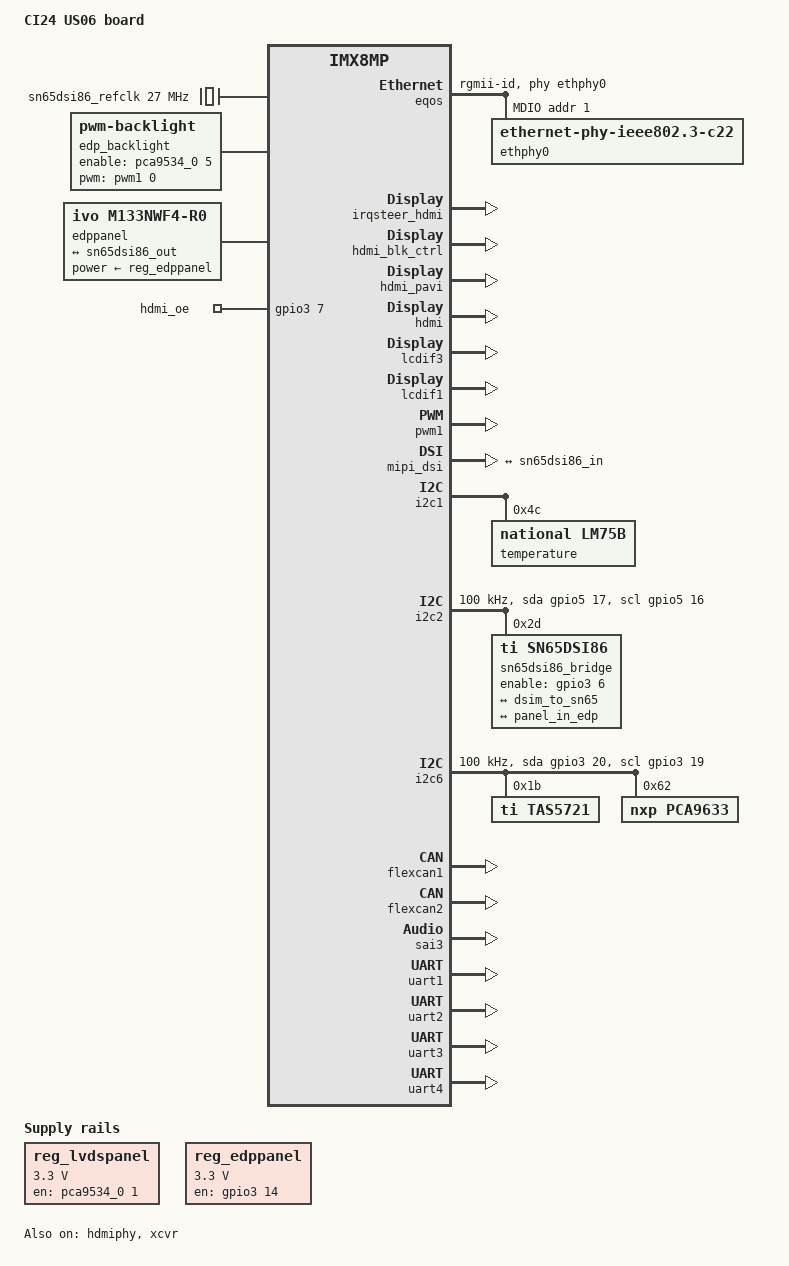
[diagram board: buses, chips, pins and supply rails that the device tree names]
/*
 * Copyright (C) 2024 Exor Int.
 * 
 * Written by: G. Pavoni Exor Int.
 * 
 * Copyright (C) 2013 Freescale Semiconductor, Inc.
 *
 * This program is free software; you can redistribute it and/or modify
 * it under the terms of the GNU General Public License version 2 as
 * published by the Free Software Foundation.
 */
  
/dts-v1/;
  
#include "imx8mp_us06.dtsi"
  
/ {
	model = "CI24 US06 board";

	aliases {
		ethernet1 = &fec;
		ethernet0 = &eqos;
		serial0 = &uart1;
		serial1 = &uart2;
		serial2 = &uart4;
		serial3 = &uart3;
	};

	sn65dsi86_refclk: sn65dsi86-refclk {
		compatible = "fixed-clock";
		#clock-cells = <0>;
		clock-frequency = <27000000>;
	};

	/* LVDS backlight */
	backlight0: backlight {
		compatible = "pwm-backlight";
		pwms = <&pwm4 0 50000 0>;
		brightness-levels = <0 4 8 12 16 20 24 28 32 36 40 44 48 52 56 60 64 68 72 76 80 84 88 92 96 100>;
		default-brightness-level = <0>;
		enable-gpios = <&pca9534_0 2 0>;
		status = "disabled"; /* NOTE: To be enabled for LVDS display output */
	};

	/* MIPI/eDP backight */
	edp_backlight: backlight_edp {
		compatible = "pwm-backlight";
		pwms = <&pwm1 0 500000 0>;
		brightness-levels = <0 4 8 12 16 20 24 28 32 36 40 44 48 52 56 60 64 68 72 76 80 84 88 92 96 100>;
		default-brightness-level = <0>;
		enable-gpios = <&pca9534_0 5 0>;
		status = "okay";
	};

	working_hours {
	  compatible = "working_hours";
	  nvmem-names = "eeprom";
	  nvmem = <&seeprom0>;
	  has-blight;
	  status = "okay";
	};

	reg_lvdspanel: regulator-lvdspanel {
		compatible = "regulator-fixed";
		regulator-name = "lvds-reg";
		regulator-min-microvolt = <3300000>;
		regulator-max-microvolt = <3300000>;
		regulator-always-on;
		gpio = <&pca9534_0 1 0>;
		startup-delay-us = <100000>;
		enable-active-high;
	};

	reg_edppanel: regulator-edppanel {
		compatible = "regulator-fixed";
		regulator-name = "edp-reg";
		regulator-min-microvolt = <3300000>;
		regulator-max-microvolt = <3300000>;
		regulator-always-on;
		gpio = <&gpio3 14 GPIO_ACTIVE_HIGH>;
		startup-delay-us = <100000>;
		enable-active-high;
	};

	/* LVDS panel */
	lvdspanel {
		#address-cells = <1>;
		#size-cells = <0>;
		compatible = "ex,lvds-panel", "simple-panel";
		power-supply = <&reg_lvdspanel>;

		status = "disabled"; /* NOTE: To be enabled for LVDS display output */

		de_pol = <1>;
		hsync_pol = <1>;
		vsync_pol = <1>;
		lvds-use-jeida;
		panel-timing {
			clock-frequency = <33200000>;
			hactive = <800>;
			vactive = <480>;
			hsync-len = <200>;
			hfront-porch = <28>;
			hback-porch = <28>;
			vsync-len = <25>;
			vfront-porch = <10>;
			vback-porch = <10>;
		};

		port@0 {
			reg = <0>;

			panel_in: endpoint {
				remote-endpoint = <&lvds_out>;
			};
		};
	};

	/* mipi/eDP panel */
	edppanel {
		#address-cells = <1>;
		#size-cells = <0>;
		compatible = "ivo,m133nwf4-r0","panel-simple";
		status = "okay";
		power-supply = <&reg_edppanel>;
		dsi-lanes = <4>;

		panel-timing {
			clock-frequency = <141000000>;
			hactive = <1920>;
			vactive = <1080>;
			hsync-len = <32>;
			hfront-porch = <32>;
			hback-porch = <120>;
			vsync-len = <10>;
			vfront-porch = <10>;
			vback-porch = <36>;
		};

		port@0 {
			reg = <0>;
			panel_in_edp: endpoint {
				remote-endpoint = <&sn65dsi86_out>;
			};
		};
	};

	sound_playback {
		compatible = "simple-audio-card";
		simple-audio-card,name = "US06 HDMI Audio";
		simple-audio-card,format = "i2s";
		simple-audio-card,bitclock-master = <&dai_cpu>;
        simple-audio-card,frame-master = <&dai_cpu>;
		dai_cpu: simple-audio-card,cpu {
			sound-dai = <&sai3>;
		};
		simple-audio-card,codec {
			sound-dai = <&tas5721>;
		};
	};
};

&leds{
        hdmi_oe@11 {
            label = "hdmi_oe";
            gpios = <&gpio3 7 GPIO_ACTIVE_HIGH>;
            default-state = "on";
        };
};

&eqos {
	pinctrl-names = "default";
	pinctrl-0 = <&pinctrl_eqos>;
	phy-mode = "rgmii-id";
	phy-handle = <&ethphy0>;
	status = "okay";

	mdio {
		compatible = "snps,dwmac-mdio";
		#address-cells = <1>;
		#size-cells = <0>;

		ethphy0: ethernet-phy@3 {
			compatible = "ethernet-phy-ieee802.3-c22";
			reg = <0x01>;
			ti,rx-internal-delay = <0x07>;
			ti,tx-internal-delay = <0x07>;
			eee-broken-1000t;
		};
	};
};

/* HDMI native interface */
&irqsteer_hdmi {
	status = "okay";
};

&hdmi_blk_ctrl {
	status = "okay";
};

&hdmi_pavi {
	status = "okay";
};

&hdmi {
	status = "okay";
};

&hdmiphy {
	status = "okay";
};

&lcdif3 {
	status = "okay";
};

/* MIPI/eDP interface */
&lcdif1 {
	status = "okay";
};

/* LVDS interface */
&lcdif2 {
	status = "disabled"; /* NOTE: To be enabled for LVDS display output */
};

/* LVDS display PWM backlight dimming*/
&pwm4 {
	status = "disabled"; /* NOTE: To be enabled for LVDS display output */
};

/* MIPI/eDP display PWM backlight dimming */
&pwm1 {
	pinctrl-names = "default";
	pinctrl-0 = <&pinctrl_pwm1>;
	status = "okay";
};

/* LVDS display */
&ldb {
	status = "disabled"; /* NOTE: To be enabled for LVDS display output */

	lvds-channel@0 {
		fsl,data-mapping = "spwg";
		fsl,data-width = <24>;
		status = "okay";

		port@1 {
			reg = <1>;

			lvds_out: endpoint {
				remote-endpoint = <&panel_in>;
			};
		};
	};
};

/* LVDS display */
&ldb_phy {
	status = "disabled"; /* NOTE: To be enabled for LVDS display output */
};

/* MIPI/eDP mipi DSI */
&mipi_dsi {
	status = "okay";
		port@1 {
			dsim_to_sn65: endpoint {
				remote-endpoint = <&sn65dsi86_in>;
				attach-bridge;
			};
		};
};

&ecspi2 {
	/delete-property/dmas;
	/delete-property/dma-names;
};

&i2c1 {
	temperature:lm75b@4c {
		compatible = "national,lm75b";
		reg = <0x4c>;
	};
};

&i2c2 {
	clock-frequency = <100000>;
	pinctrl-names = "default", "gpio";
	pinctrl-0 = <&pinctrl_i2c2>;
	pinctrl-1 = <&pinctrl_i2c2_gpio>;
	scl-gpios = <&gpio5 16 (GPIO_ACTIVE_HIGH | GPIO_OPEN_DRAIN)>;
	sda-gpios = <&gpio5 17 (GPIO_ACTIVE_HIGH | GPIO_OPEN_DRAIN)>;
	status = "okay";

	/* SN65DSI86 MIPI2EDP bridge */
	sn65dsi86_bridge: bridge@2d {
		compatible = "ti,sn65dsi86";
		reg = <0x2d>;
		ti,dsi-lanes = <4>;
		max,dsi-channel = <1>;
		ti,dp-lanes = <2>;

		enable-gpios = <&gpio3 6 GPIO_ACTIVE_HIGH>;
		clocks = <&sn65dsi86_refclk>;
		clock-names = "refclk";
		no-hpd;

		ports {
			#address-cells = <1>;
			#size-cells = <0>;

			port@0 {
				reg = <0>;
				sn65dsi86_in: endpoint {
					remote-endpoint = <&dsim_to_sn65>;
				};
			};

			port@1 {
				reg = <1>;
				sn65dsi86_out: endpoint {
					remote-endpoint = <&panel_in_edp>;
				};
			};
        };
	};
};

&i2c6 {
	clock-frequency = <100000>;
	pinctrl-names = "default", "gpio";
	pinctrl-0 = <&pinctrl_i2c6>;
	pinctrl-1 = <&pinctrl_i2c6_gpio>;
	scl-gpios = <&gpio3 19 (GPIO_ACTIVE_HIGH | GPIO_OPEN_DRAIN)>;
	sda-gpios = <&gpio3 20 (GPIO_ACTIVE_HIGH | GPIO_OPEN_DRAIN)>;
	status = "okay";

	tas5721: audio-codec@1b {
		compatible = "ti,tas5721";
		#sound-dai-cells = <0>;
		reg = <0x1b>;
		clocks = <&audio_blk_ctrl IMX8MP_CLK_AUDIO_BLK_CTRL_SAI3_MCLK1>;
		clock-names = "mclk";
	};

	pca9633@62 {
		compatible = "nxp,pca9633";
		#address-cells = <1>;
		#size-cells = <0>;
		reg = <0x62>;
		nxp,totem-pole;

		red@0 {
			label = "red";
			reg = <0>;
			linux,default-trigger = "none";
		};
		green@1 {
			label = "green";
			reg = <1>;
			linux,default-trigger = "none";
		};
		blue@2 {
			label = "blue";
			reg = <2>;
			linux,default-trigger = "none";
		};
		white@3 {
			label = "white";
			reg = <3>;
			linux,default-trigger = "none";
		};
	};
};

&pcie{
	fsl,max-link-speed = <1>;
};

&flexcan1 {
	status = "okay";
};

&flexcan2 {
	status = "okay";
};

&sai3 {
	#sound-dai-cells = <0>;
	pinctrl-names = "default";
	pinctrl-0 = <&pinctrl_sai3>;
	assigned-clocks = <&clk IMX8MP_CLK_SAI3>;

	// 48K based rates
	assigned-clock-parents = <&clk IMX8MP_AUDIO_PLL1_OUT>;
	assigned-clock-rates = <24576000>;

	// 44K1 based rates
	//assigned-clock-parents = <&clk IMX8MP_AUDIO_PLL2_OUT>;
	//assigned-clock-rates = <22579200>;

	clocks = <&audio_blk_ctrl IMX8MP_CLK_AUDIO_BLK_CTRL_SAI3_IPG>, <&clk IMX8MP_CLK_DUMMY>,
		 <&audio_blk_ctrl IMX8MP_CLK_AUDIO_BLK_CTRL_SAI3_MCLK1>, <&clk IMX8MP_CLK_DUMMY>,
		 <&clk IMX8MP_CLK_DUMMY>;
	clock-names = "bus", "mclk0", "mclk1", "mclk2", "mclk3";
	fsl,sai-mclk-direction-output;
	status = "okay";
};

&xcvr {
	#sound-dai-cells = <0>;
	status = "okay";
};

&sdma2 {
	status = "okay";
};

&uart1 { /* Main UART com1*/
	/delete-property/dmas;
	/delete-property/dma-names;
	pinctrl-names = "default";
	pinctrl-0 = <&pinctrl_uart1>;
	fsl,uart-has-rtscts;
	rts-gpio = <&gpio4 14 0>;
	mode-gpio = <&gpio4 9 0>;
	rxen-gpio = <&gpio4 8 0>;
	status = "okay";
};

&uart2 { /* RS232-tx/rx com2 */
	pinctrl-names = "default";
	pinctrl-0 = <&pinctrl_uart2>;
	fsl,uart-has-rtscts;
	status = "okay";
	/delete-property/dmas;
	/delete-property/dma-names;
};

&uart3 { /* MDB uart com4*/
	pinctrl-names = "default";
	pinctrl-0 = <&pinctrl_uart3>;
	fsl,uart-has-rtscts;
	status = "okay";
	/delete-property/dmas;
	/delete-property/dma-names;
};

&uart4 { /* RS232 com3 */
	pinctrl-names = "default";
	pinctrl-0 = <&pinctrl_uart4>;
	fsl,uart-has-rtscts;
	status = "okay";
	/delete-property/dmas;
	/delete-property/dma-names;
};


&iomuxc {
	pinctrl-names = "default";
	pinctrl-0 = <&pinctrl_hog &pinctrl_hog2>;

	imx8mp-evk {

		pinctrl_hog2: hoggrp-2 {
			fsl,pins = <
				MX8MP_IOMUXC_SPDIF_EXT_CLK__GPIO5_IO05   0x106
				MX8MP_IOMUXC_GPIO1_IO03__GPIO1_IO03      0x106
				MX8MP_IOMUXC_SAI5_RXD0__GPIO3_IO21       0x106
				MX8MP_IOMUXC_GPIO1_IO08__GPIO1_IO08      0x106 /* CASE_OPEN GPIO*/
				MX8MP_IOMUXC_NAND_DQS__GPIO3_IO14        0x106 /* EDP EN_VDD */
				MX8MP_IOMUXC_NAND_DATA00__GPIO3_IO06     0x106 /* EDP EN_DSI */
				MX8MP_IOMUXC_HDMI_DDC_SCL__HDMIMIX_HDMI_SCL	0x400001c3
				MX8MP_IOMUXC_HDMI_DDC_SDA__HDMIMIX_HDMI_SDA	0x400001c3
				MX8MP_IOMUXC_HDMI_HPD__HDMIMIX_HDMI_HPD		0x40000019
				MX8MP_IOMUXC_HDMI_CEC__HDMIMIX_HDMI_CEC		0x40000019
				MX8MP_IOMUXC_NAND_DATA01__GPIO3_IO07    0x106 /* HDMI_OE */
			>;
		};

		pinctrl_eqos: eqosgrp {
			fsl,pins = <
				MX8MP_IOMUXC_ENET_MDC__ENET_QOS_MDC		0x3
				MX8MP_IOMUXC_ENET_MDIO__ENET_QOS_MDIO		0x3
				MX8MP_IOMUXC_ENET_RD0__ENET_QOS_RGMII_RD0	0x91
				MX8MP_IOMUXC_ENET_RD1__ENET_QOS_RGMII_RD1	0x91
				MX8MP_IOMUXC_ENET_RD2__ENET_QOS_RGMII_RD2	0x91
				MX8MP_IOMUXC_ENET_RD3__ENET_QOS_RGMII_RD3	0x91
				MX8MP_IOMUXC_ENET_RXC__CCM_ENET_QOS_CLOCK_GENERATE_RX_CLK	0x91
				MX8MP_IOMUXC_ENET_RX_CTL__ENET_QOS_RGMII_RX_CTL	0x91
				MX8MP_IOMUXC_ENET_TD0__ENET_QOS_RGMII_TD0	0x1f
				MX8MP_IOMUXC_ENET_TD1__ENET_QOS_RGMII_TD1	0x1f
				MX8MP_IOMUXC_ENET_TD2__ENET_QOS_RGMII_TD2	0x1f
				MX8MP_IOMUXC_ENET_TD3__ENET_QOS_RGMII_TD3	0x1f
				MX8MP_IOMUXC_ENET_TX_CTL__ENET_QOS_RGMII_TX_CTL	0x1f
				MX8MP_IOMUXC_ENET_TXC__CCM_ENET_QOS_CLOCK_GENERATE_TX_CLK	0x1f
			>;
		};

		pinctrl_uart2: uart2grp {
			fsl,pins = <
				MX8MP_IOMUXC_UART2_RXD__UART2_DCE_RX		0x140
				MX8MP_IOMUXC_UART2_TXD__UART2_DCE_TX		0x140
			>;
		};

		pinctrl_uart3: uart3grp {
			fsl,pins = <
				MX8MP_IOMUXC_NAND_ALE__UART3_DCE_RX			0x140
				MX8MP_IOMUXC_NAND_CE0_B__UART3_DCE_TX		0x140
			>;
		};

		pinctrl_uart4: uart4grp {
			fsl,pins = <
				MX8MP_IOMUXC_ECSPI2_SCLK__UART4_DCE_RX		0x140
				MX8MP_IOMUXC_ECSPI2_MOSI__UART4_DCE_TX		0x140
				MX8MP_IOMUXC_ECSPI2_MISO__UART4_DCE_CTS		0x140
				MX8MP_IOMUXC_ECSPI2_SS0__UART4_DCE_RTS		0x140
			>;
		};

		pinctrl_uart1: uart1grp {
			fsl,pins = <
				MX8MP_IOMUXC_UART1_RXD__UART1_DCE_RX		0x140
				MX8MP_IOMUXC_UART1_TXD__UART1_DCE_TX		0x140
				MX8MP_IOMUXC_SAI2_RXD0__UART1_DCE_RTS		0x140
				MX8MP_IOMUXC_SAI2_TXFS__UART1_DCE_CTS		0x140
				MX8MP_IOMUXC_SAI1_RXD7__GPIO4_IO09			0x106
				MX8MP_IOMUXC_SAI1_TXD2__GPIO4_IO14			0x106
				MX8MP_IOMUXC_SAI1_RXD6__GPIO4_IO08			0x106
			>;
		};

		pinctrl_i2c2: i2c2grp {
			fsl,pins = <
				MX8MP_IOMUXC_I2C2_SCL__I2C2_SCL		0x400001c2
				MX8MP_IOMUXC_I2C2_SDA__I2C2_SDA		0x400001c2
			>;
		};

		pinctrl_i2c2_gpio: i2c2grpgpio {
			fsl,pins = <
				MX8MP_IOMUXC_I2C2_SCL__GPIO5_IO16        0x1c4
				MX8MP_IOMUXC_I2C2_SDA__GPIO5_IO17        0x1c4
			>;
		};

		pinctrl_i2c6: i2c6grp {
			fsl,pins = <
				MX8MP_IOMUXC_SAI5_RXFS__I2C6_SCL		0x400001c2
				MX8MP_IOMUXC_SAI5_RXC__I2C6_SDA		0x400001c2
			>;
		};

		pinctrl_i2c6_gpio: i2c6grpgpio {
			fsl,pins = <
				MX8MP_IOMUXC_SAI5_RXFS__GPIO3_IO19        0x1c4
				MX8MP_IOMUXC_SAI5_RXC__GPIO3_IO20        0x1c4
			>;
		};

		pinctrl_sai3: sai3grp {
			fsl,pins = <
				MX8MP_IOMUXC_SAI3_TXD__AUDIOMIX_SAI3_TX_DATA00	0xd6
				MX8MP_IOMUXC_SAI3_TXC__AUDIOMIX_SAI3_TX_BCLK	0xd6
				MX8MP_IOMUXC_SAI3_TXFS__AUDIOMIX_SAI3_TX_SYNC	0xd6
				MX8MP_IOMUXC_SAI3_MCLK__AUDIOMIX_SAI3_MCLK	0xd6
			>;
		};

		pinctrl_pwm1: pwm1grp {
			fsl,pins = <
				MX8MP_IOMUXC_GPIO1_IO01__PWM1_OUT	0x116
			>;
		};
	};
};

